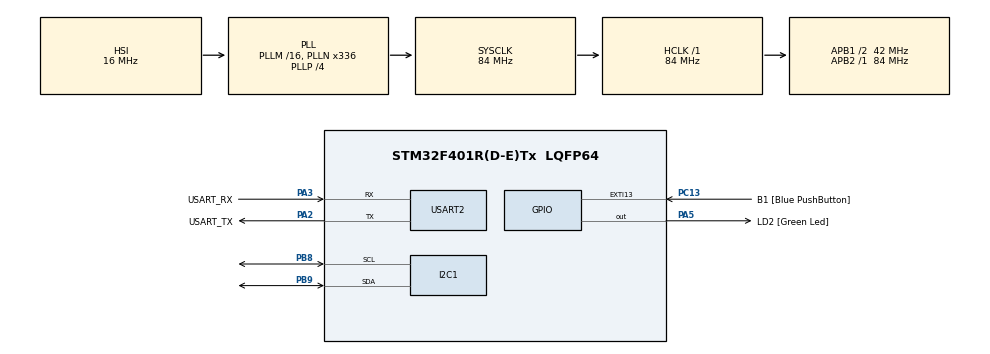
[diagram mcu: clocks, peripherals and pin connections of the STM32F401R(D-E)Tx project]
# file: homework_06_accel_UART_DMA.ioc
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Dma.Request0=USART2_TX
Dma.USART2_TX.0.Direction=DMA_MEMORY_TO_PERIPH
Dma.USART2_TX.0.FIFOMode=DMA_FIFOMODE_DISABLE
Dma.USART2_TX.0.Instance=DMA1_Stream6
Dma.USART2_TX.0.MemDataAlignment=DMA_MDATAALIGN_BYTE
Dma.USART2_TX.0.MemInc=DMA_MINC_ENABLE
Dma.USART2_TX.0.Mode=DMA_NORMAL
Dma.USART2_TX.0.PeriphDataAlignment=DMA_PDATAALIGN_BYTE
Dma.USART2_TX.0.PeriphInc=DMA_PINC_DISABLE
Dma.USART2_TX.0.Priority=DMA_PRIORITY_HIGH
Mcu.Family=STM32F4
Mcu.Name=STM32F401R(D-E)Tx
Mcu.Package=LQFP64
NVIC.DMA1_Stream6_IRQn=true\:0\:0\:false\:false\:true\:false\:true\:true
NVIC.PriorityGroup=NVIC_PRIORITYGROUP_0
NVIC.TIM1_UP_TIM10_IRQn=true\:0\:0\:false\:false\:true\:true\:true\:true
NVIC.USART2_IRQn=true\:0\:0\:false\:false\:true\:true\:true\:true
PA13.GPIO_Label=TMS
PA13.Mode=Serial_Wire
PA13.Signal=SYS_JTMS-SWDIO
PA14.GPIO_Label=TCK
PA14.Mode=Serial_Wire
PA14.Signal=SYS_JTCK-SWCLK
PA2.GPIO_Label=USART_TX
PA2.GPIO_Mode=GPIO_MODE_AF_PP
PA2.GPIO_PuPd=GPIO_NOPULL
PA2.GPIO_Speed=GPIO_SPEED_FREQ_LOW
PA2.Mode=Asynchronous
PA2.Signal=USART2_TX
PA3.GPIO_Label=USART_RX
PA3.GPIO_Mode=GPIO_MODE_AF_PP
PA3.GPIO_PuPd=GPIO_NOPULL
PA3.GPIO_Speed=GPIO_SPEED_FREQ_LOW
PA3.Mode=Asynchronous
PA3.Signal=USART2_RX
PA5.GPIO_Label=LD2 [Green Led]
PA5.GPIO_Mode=GPIO_MODE_OUTPUT_PP
PA5.GPIO_PuPd=GPIO_NOPULL
PA5.GPIO_Speed=GPIO_SPEED_FREQ_LOW
PA5.Signal=GPIO_Output
PB3.GPIO_Label=SWO
PB3.Signal=SYS_JTDO-SWO
PB8.Mode=I2C
PB8.Signal=I2C1_SCL
PB9.Mode=I2C
PB9.Signal=I2C1_SDA
PC13-ANTI_TAMP.GPIO_Label=B1 [Blue PushButton]
PC13-ANTI_TAMP.GPIO_ModeDefaultEXTI=GPIO_MODE_IT_FALLING
PC13-ANTI_TAMP.GPIO_PuPd=GPIO_NOPULL
PC13-ANTI_TAMP.Signal=GPXTI13
PC14-OSC32_IN.Mode=LSE-External-Oscillator
PC14-OSC32_IN.Signal=RCC_OSC32_IN
PC15-OSC32_OUT.Mode=LSE-External-Oscillator
PC15-OSC32_OUT.Signal=RCC_OSC32_OUT
PH0\ -\ OSC_IN.Mode=HSE-External-Clock-Source
PH0\ -\ OSC_IN.Signal=RCC_OSC_IN
PH1\ -\ OSC_OUT.Mode=HSE-External-Clock-Source
PH1\ -\ OSC_OUT.Signal=RCC_OSC_OUT
ProjectManager.HeapSize=0x200
ProjectManager.StackSize=0x400
ProjectManager.TargetToolchain=STM32CubeIDE
RCC.48MHZClocksFreq_Value=48000000
RCC.AHBFreq_Value=84000000
RCC.APB1CLKDivider=RCC_HCLK_DIV2
RCC.APB1Freq_Value=42000000
RCC.APB1TimFreq_Value=84000000
RCC.APB2Freq_Value=84000000
RCC.APB2TimFreq_Value=84000000
RCC.CortexFreq_Value=84000000
RCC.HCLKFreq_Value=84000000
RCC.HSE_VALUE=8000000
RCC.HSI_VALUE=16000000
RCC.PLLN=336
RCC.PLLP=RCC_PLLP_DIV4
RCC.PLLQ=7
RCC.SYSCLKFreq_VALUE=84000000
RCC.SYSCLKSource=RCC_SYSCLKSOURCE_PLLCLK
RCC.VCOOutputFreq_Value=336000000
TIM1.Period=10000-1
TIM1.Prescaler=8400-1
USART2.VirtualMode=VM_ASYNC
VP_TIM1_VS_ClockSourceINT.Mode=Internal
board=NUCLEO-F401RE

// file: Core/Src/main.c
/* USER CODE BEGIN Header */
/**
  **************************
  * @file           : main.c
  * @brief          : Main program body
  **************************
  * @attention
  *
  * Copyright (c) 2023 STMicroelectronics.
  * All rights reserved.
  *
  * This software is licensed under terms that can be found in the LICENSE file
  * in the root directory of this software component.
  * If no LICENSE file comes with this software, it is provided AS-IS.
  *
  **************************
  */
/* USER CODE END Header */
#include "main.h"

/* USER CODE BEGIN PD */
#define ACCEL_ADDRESS_V1 0b0101000
#define ACCEL_ADDRESS_V2 0b0101000
#define READBIT 0x01
#define WRITEBIT 0x00

/* USER CODE END PD */

I2C_HandleTypeDef hi2c1;

TIM_HandleTypeDef htim1;

UART_HandleTypeDef huart2;
DMA_HandleTypeDef hdma_usart2_tx;

/* USER CODE BEGIN PV */
volatile uint32_t ACCEL_ADDRESS = 0;
int timer_finished = 0;
/* USER CODE END PV */

void SystemClock_Config(void);
static void MX_GPIO_Init(void);
static void MX_DMA_Init(void);
static void MX_USART2_UART_Init(void);
static void MX_I2C1_Init(void);
static void MX_TIM1_Init(void);
/* USER CODE BEGIN PFP */
void HAL_TIM_PeriodElapsedCallback(TIM_HandleTypeDef *htim);
/* USER CODE END PFP */

int main(void)
{

  /* MCU Configuration--------------------------------------------------------*/

  /* Reset of all peripherals, Initializes the Flash interface and the Systick. */
  HAL_Init();

  /* Configure the system clock */
  SystemClock_Config();

  /* Initialize all configured peripherals */
  MX_GPIO_Init();
  MX_DMA_Init();
  MX_USART2_UART_Init();
  MX_I2C1_Init();
  MX_TIM1_Init();
  /* USER CODE BEGIN 2 */
  HAL_TIM_Base_Start_IT(&htim1);

  char stringa[64];
  uint8_t data[5];

  int length = snprintf(stringa, sizeof(stringa), "-----\n\r");
  HAL_UART_Transmit(&huart2, stringa, length, 100);

  // REG_ADDRESS | 4-bit config | LOW_POWER | ZYX
  uint8_t mode = 0b0001;
  uint8_t low_power = 0b0;
  uint8_t axis = 0b111;

  uint8_t CTRL_REG1[] = {0x20, (mode << 4) | (low_power << 3) | (axis)};
  uint8_t CTRL_REG2[] = {0x21, 0b00000000};
  uint8_t CTRL_REG4[] = {0x23, 0b00000000};

  uint8_t OUT_X = 0x29;
  uint8_t OUT_Y = 0x2B;
  uint8_t OUT_Z = 0x2D;

  if (HAL_I2C_Master_Transmit(&hi2c1, (ACCEL_ADDRESS_V1 << 1) | WRITEBIT, CTRL_REG1, sizeof(CTRL_REG1), 200) == HAL_OK) {
	  int length = snprintf(stringa, sizeof(stringa), "V1 is correct\n\r");
	  HAL_UART_Transmit(&huart2, stringa, length, 100);
	  ACCEL_ADDRESS = ACCEL_ADDRESS_V1;
  } else if (HAL_I2C_Master_Transmit(&hi2c1, (ACCEL_ADDRESS_V2 << 1) | WRITEBIT, CTRL_REG1, sizeof(CTRL_REG1), 200) == HAL_OK) {
	  int length = snprintf(stringa, sizeof(stringa), "V2 is correct\n\r");
	  HAL_UART_Transmit(&huart2, stringa, length, 100);
	  ACCEL_ADDRESS = ACCEL_ADDRESS_V2;
  } else {
	  int length = snprintf(stringa, sizeof(stringa), "Error: incorrect accelerator address\n\r");
	  HAL_UART_Transmit(&huart2, stringa, length, 100);
  }

  HAL_I2C_Master_Transmit(&hi2c1, (ACCEL_ADDRESS << 1) | WRITEBIT, CTRL_REG2, sizeof(CTRL_REG2), 200);
  HAL_I2C_Master_Transmit(&hi2c1, (ACCEL_ADDRESS << 1) | WRITEBIT, CTRL_REG4, sizeof(CTRL_REG4), 200);

  /* USER CODE END 2 */

  /* Infinite loop */
  /* USER CODE BEGIN WHILE */
  while (1)
  {
	  if(timer_finished) {
		  timer_finished = 0;
		  int8_t acc_x, acc_y, acc_z;

		  HAL_I2C_Master_Transmit(&hi2c1, (ACCEL_ADDRESS << 1) | WRITEBIT, &OUT_X, 1, 200);
		  HAL_I2C_Master_Receive(&hi2c1, (ACCEL_ADDRESS << 1) | READBIT, &acc_x, 1, 200);

		  HAL_I2C_Master_Transmit(&hi2c1, (ACCEL_ADDRESS << 1) | WRITEBIT, &OUT_Y, 1, 200);
		  HAL_I2C_Master_Receive(&hi2c1, (ACCEL_ADDRESS << 1) | READBIT, &acc_y, 1, 200);

		  HAL_I2C_Master_Transmit(&hi2c1, (ACCEL_ADDRESS << 1) | WRITEBIT, &OUT_Z, 1, 200);
		  HAL_I2C_Master_Receive(&hi2c1, (ACCEL_ADDRESS << 1) | READBIT, &acc_z, 1, 200);

		  float acc_g_x = acc_x / 64.0;
		  float acc_g_y = acc_y / 64.0;
		  float acc_g_z = acc_z / 64.0;

		  length = snprintf(stringa, sizeof(stringa), "%+.2f | %+.2f | %+.2f\n\r", acc_g_x, acc_g_y, acc_g_z);
		  HAL_UART_Transmit_DMA(&huart2, stringa, length);
	  }
//	  HAL_I2C_Master_Transmit(&hi2c1, (ACCEL_ADDRESS << 1) | WRITEBIT, 0x29, 2, 200);
//	  if (HAL_I2C_Master_Receive(&hi2c1, (ACCEL_ADDRESS << 1) | READBIT, &data, 1, 200) != HAL_OK) {
//	  		  length = snprintf(stringa, sizeof(stringa), "ERRORE\n\r");
//	  	  	  HAL_UART_Transmit(&huart2, stringa, length, 100);
//	  } else {
//		  int32_t x = (int32_t)data[0];
//		  int32_t y = (int32_t)data[2];
//		  int32_t z = (int32_t)data[4];
//
//		  length = snprintf(stringa, sizeof(stringa), "X=%d, Y=%d, Z=%d\n\r", x, y, z);
//		  HAL_UART_Transmit(&huart2, stringa, length, 100);
//		  length = snprintf(stringa, sizeof(stringa), "%.1f %cC", temp, 0xDF);
//		  lcd_println(stringa, 0);
//	  }
    /* USER CODE END WHILE */

  }
}

void SystemClock_Config(void)
{
  RCC_OscInitTypeDef RCC_OscInitStruct = {0};
  RCC_ClkInitTypeDef RCC_ClkInitStruct = {0};

  /** Configure the main internal regulator output voltage
  */
  __HAL_RCC_PWR_CLK_ENABLE();
  __HAL_PWR_VOLTAGESCALING_CONFIG(PWR_REGULATOR_VOLTAGE_SCALE2);

  /** Initializes the RCC Oscillators according to the specified parameters
  * in the RCC_OscInitTypeDef structure.
  */
  RCC_OscInitStruct.OscillatorType = RCC_OSCILLATORTYPE_HSI;
  RCC_OscInitStruct.HSIState = RCC_HSI_ON;
  RCC_OscInitStruct.HSICalibrationValue = RCC_HSICALIBRATION_DEFAULT;
  RCC_OscInitStruct.PLL.PLLState = RCC_PLL_ON;
  RCC_OscInitStruct.PLL.PLLSource = RCC_PLLSOURCE_HSI;
  RCC_OscInitStruct.PLL.PLLM = 16;
  RCC_OscInitStruct.PLL.PLLN = 336;
  RCC_OscInitStruct.PLL.PLLP = RCC_PLLP_DIV4;
  RCC_OscInitStruct.PLL.PLLQ = 7;
  if (HAL_RCC_OscConfig(&RCC_OscInitStruct) != HAL_OK)
  {
    Error_Handler();
  }

  /** Initializes the CPU, AHB and APB buses clocks
  */
  RCC_ClkInitStruct.ClockType = RCC_CLOCKTYPE_HCLK|RCC_CLOCKTYPE_SYSCLK
                              |RCC_CLOCKTYPE_PCLK1|RCC_CLOCKTYPE_PCLK2;
  RCC_ClkInitStruct.SYSCLKSource = RCC_SYSCLKSOURCE_PLLCLK;
  RCC_ClkInitStruct.AHBCLKDivider = RCC_SYSCLK_DIV1;
  RCC_ClkInitStruct.APB1CLKDivider = RCC_HCLK_DIV2;
  RCC_ClkInitStruct.APB2CLKDivider = RCC_HCLK_DIV1;

  if (HAL_RCC_ClockConfig(&RCC_ClkInitStruct, FLASH_LATENCY_2) != HAL_OK)
  {
    Error_Handler();
  }
}

static void MX_I2C1_Init(void)
{

  hi2c1.Instance = I2C1;
  hi2c1.Init.ClockSpeed = 100000;
  hi2c1.Init.DutyCycle = I2C_DUTYCYCLE_2;
  hi2c1.Init.OwnAddress1 = 0;
  hi2c1.Init.AddressingMode = I2C_ADDRESSINGMODE_7BIT;
  hi2c1.Init.DualAddressMode = I2C_DUALADDRESS_DISABLE;
  hi2c1.Init.OwnAddress2 = 0;
  hi2c1.Init.GeneralCallMode = I2C_GENERALCALL_DISABLE;
  hi2c1.Init.NoStretchMode = I2C_NOSTRETCH_DISABLE;
  if (HAL_I2C_Init(&hi2c1) != HAL_OK)
  {
    Error_Handler();
  }

}

static void MX_TIM1_Init(void)
{

  TIM_ClockConfigTypeDef sClockSourceConfig = {0};
  TIM_MasterConfigTypeDef sMasterConfig = {0};

  htim1.Instance = TIM1;
  htim1.Init.Prescaler = 8400-1;
  htim1.Init.CounterMode = TIM_COUNTERMODE_UP;
  htim1.Init.Period = 10000-1;
  htim1.Init.ClockDivision = TIM_CLOCKDIVISION_DIV1;
  htim1.Init.RepetitionCounter = 0;
  htim1.Init.AutoReloadPreload = TIM_AUTORELOAD_PRELOAD_DISABLE;
  if (HAL_TIM_Base_Init(&htim1) != HAL_OK)
  {
    Error_Handler();
  }
  sClockSourceConfig.ClockSource = TIM_CLOCKSOURCE_INTERNAL;
  if (HAL_TIM_ConfigClockSource(&htim1, &sClockSourceConfig) != HAL_OK)
  {
    Error_Handler();
  }
  sMasterConfig.MasterOutputTrigger = TIM_TRGO_RESET;
  sMasterConfig.MasterSlaveMode = TIM_MASTERSLAVEMODE_DISABLE;
  if (HAL_TIMEx_MasterConfigSynchronization(&htim1, &sMasterConfig) != HAL_OK)
  {
    Error_Handler();
  }

}

static void MX_USART2_UART_Init(void)
{

  huart2.Instance = USART2;
  huart2.Init.BaudRate = 115200;
  huart2.Init.WordLength = UART_WORDLENGTH_8B;
  huart2.Init.StopBits = UART_STOPBITS_1;
  huart2.Init.Parity = UART_PARITY_NONE;
  huart2.Init.Mode = UART_MODE_TX_RX;
  huart2.Init.HwFlowCtl = UART_HWCONTROL_NONE;
  huart2.Init.OverSampling = UART_OVERSAMPLING_16;
  if (HAL_UART_Init(&huart2) != HAL_OK)
  {
    Error_Handler();
  }

}

static void MX_DMA_Init(void)
{

  /* DMA controller clock enable */
  __HAL_RCC_DMA1_CLK_ENABLE();

  /* DMA interrupt init */
  /* DMA1_Stream6_IRQn interrupt configuration */
  HAL_NVIC_SetPriority(DMA1_Stream6_IRQn, 0, 0);
  HAL_NVIC_EnableIRQ(DMA1_Stream6_IRQn);

}

static void MX_GPIO_Init(void)
{
  GPIO_InitTypeDef GPIO_InitStruct = {0};

  /* GPIO Ports Clock Enable */
  __HAL_RCC_GPIOC_CLK_ENABLE();
  __HAL_RCC_GPIOH_CLK_ENABLE();
  __HAL_RCC_GPIOA_CLK_ENABLE();
  __HAL_RCC_GPIOB_CLK_ENABLE();

  /*Configure GPIO pin Output Level */
  HAL_GPIO_WritePin(LD2_GPIO_Port, LD2_Pin, GPIO_PIN_RESET);

  /*Configure GPIO pin : B1_Pin */
  GPIO_InitStruct.Pin = B1_Pin;
  GPIO_InitStruct.Mode = GPIO_MODE_IT_FALLING;
  GPIO_InitStruct.Pull = GPIO_NOPULL;
  HAL_GPIO_Init(B1_GPIO_Port, &GPIO_InitStruct);

  /*Configure GPIO pin : LD2_Pin */
  GPIO_InitStruct.Pin = LD2_Pin;
  GPIO_InitStruct.Mode = GPIO_MODE_OUTPUT_PP;
  GPIO_InitStruct.Pull = GPIO_NOPULL;
  GPIO_InitStruct.Speed = GPIO_SPEED_FREQ_LOW;
  HAL_GPIO_Init(LD2_GPIO_Port, &GPIO_InitStruct);

}

/* USER CODE BEGIN 4 */
void HAL_TIM_PeriodElapsedCallback(TIM_HandleTypeDef *htim) {
	if(htim != &htim1) return;

	timer_finished = 1;
}
/* USER CODE END 4 */

void Error_Handler(void)
{
  __disable_irq();
  while (1)
  {
  }
}
